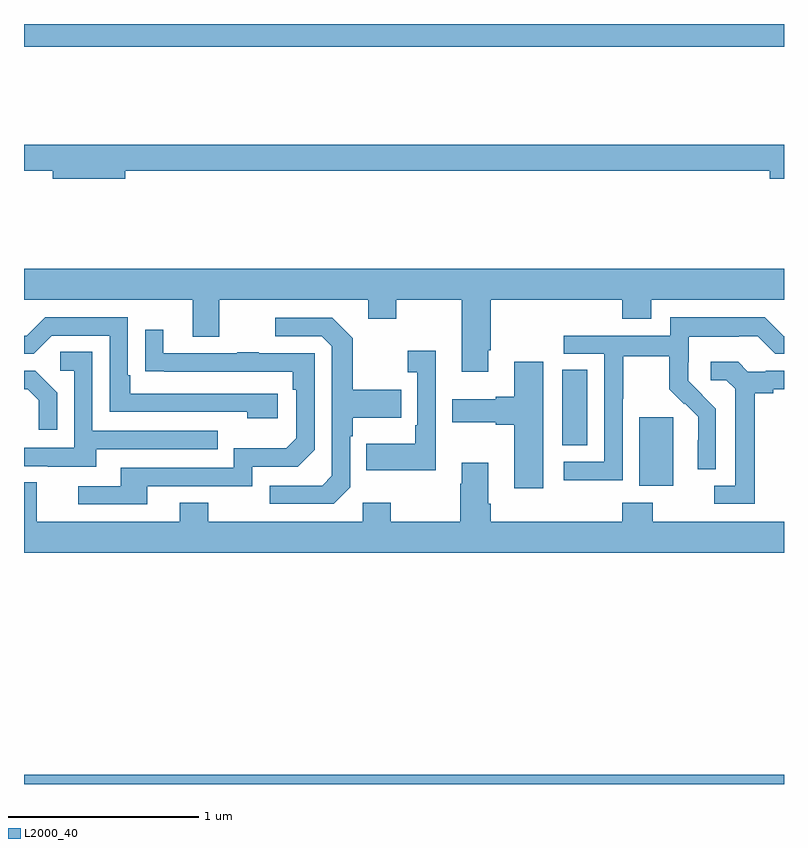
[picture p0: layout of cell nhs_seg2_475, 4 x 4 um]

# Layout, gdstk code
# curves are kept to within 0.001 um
import gdstk
lib = gdstk.Library(unit=1e-6, precision=1e-09)
def R(c, l, rs):  # rectangles x0, y0, x1, y1
    for r in rs: c.add(gdstk.rectangle(r[:2], r[2:], *l))
def P(c, l, *ps):  # polygons
    for p in ps: c.add(gdstk.Polygon(p, *l))
L2000_40 = (2000, 40)

nhs_seg2_475 = lib.new_cell('nhs_seg2_475')
R(nhs_seg2_475, L2000_40, [(135,599.8,139,599.848), (138.239,601.37,138.418,601.731), (137.834,601.582,137.965,601.979), (135,603.68,139,603.8)])
P(nhs_seg2_475, L2000_40, [(135.532,603.028),(138.926,603.028),(138.926,602.986),(139,602.986),(139,603.164),(135,603.164),(135,603.028),(135.152,603.028),(135.152,602.986),(135.532,602.986)],
  [(137.443,602.083),(137.456,602.083),(137.456,602.348),(138.149,602.348),(138.149,602.249),(138.301,602.249),(138.301,602.348),(139,602.348),(139,602.512),(135,602.512),(135,602.348),(135.887,602.348),(135.887,602.154),(136.027,602.154),(136.027,602.348),(136.811,602.348),(136.811,602.249),(136.959,602.249),(136.959,602.348),(137.303,602.348),(137.303,601.971),(137.443,601.971)],
  [(138.15,601.828),(138.153,601.828),(138.153,602.052),(138.397,602.052),(138.397,601.877),(138.474,601.8),(138.477,601.803),(138.548,601.733),(138.548,601.61),(138.546,601.61),(138.546,601.456),(138.642,601.456),(138.642,601.774),(138.496,601.922),(138.496,602.019),(138.498,602.019),(138.498,602.153),(138.761,602.153),(138.761,602.157),(138.861,602.157),(138.954,602.064),(139,602.064),(139,602.157),(138.899,602.257),(138.402,602.257),(138.402,602.16),(137.841,602.16),(137.841,602.064),(138.054,602.064),(138.054,601.497),(137.841,601.497),(137.841,601.399),(138.15,601.399)],
  [(136.336,601.854),(135.559,601.854),(135.559,601.951),(135.546,601.951),(135.546,602.256),(135.111,602.256),(135.015,602.16),(135,602.16),(135,602.064),(135.051,602.064),(135.147,602.16),(135.45,602.16),(135.45,601.758),(136.175,601.758),(136.175,601.724),(136.336,601.724)],
  [(136.716,601.362),(136.716,601.631),(136.729,601.631),(136.729,601.727),(136.985,601.727),(136.985,601.875),(136.729,601.875),(136.729,602.147),(136.623,602.253),(136.323,602.253),(136.323,602.157),(136.566,602.157),(136.62,602.103),(136.62,601.422),(136.569,601.371),(136.293,601.371),(136.293,601.275),(136.629,601.275)],
  [(135.649,601.368),(136.2,601.368),(136.2,601.47),(136.44,601.47),(136.53,601.56),(136.53,602.067),(136.235,602.067),(136.235,602.072),(136.123,602.072),(136.123,602.067),(135.733,602.067),(135.733,602.191),(135.637,602.191),(135.637,601.972),(136.414,601.971),(136.414,601.874),(136.434,601.874),(136.434,601.62),(136.381,601.567),(136.104,601.567),(136.104,601.464),(135.509,601.464),(135.509,601.368),(135.285,601.368),(135.285,601.272),(135.649,601.272)],
  [(137.166,602.08),(137.019,602.08),(137.019,601.967),(137.07,601.967),(137.07,601.687),(137.058,601.687),(137.058,601.591),(136.801,601.591),(136.801,601.451),(137.166,601.451)],
  [(135.379,601.563),(136.019,601.563),(136.019,601.659),(135.36,601.659),(135.36,602.075),(135.192,602.075),(135.192,601.974),(135.264,601.974),(135.264,601.569),(135,601.569),(135,601.473),(135.125,601.473),(135.125,601.469),(135.379,601.469)],
  [(138.847,601.856),(138.943,601.856),(138.943,601.878),(139,601.878),(139,601.974),(138.904,601.974),(138.904,601.971),(138.81,601.971),(138.758,602.023),(138.615,602.023),(138.615,601.926),(138.696,601.926),(138.743,601.879),(138.743,601.371),(138.633,601.371),(138.633,601.275),(138.847,601.275)],
  [(137.734,602.023),(137.579,602.023),(137.579,601.838),(137.483,601.838),(137.483,601.825),(137.253,601.825),(137.253,601.703),(137.483,601.703),(137.483,601.691),(137.579,601.691),(137.579,601.356),(137.734,601.356)],
  [(135.174,601.858),(135.058,601.974),(135,601.974),(135,601.878),(135.02,601.878),(135.077,601.821),(135.077,601.665),(135.174,601.665)],
  [(139,601.18),(138.309,601.18),(138.309,601.279),(138.149,601.279),(138.149,601.18),(137.456,601.18),(137.456,601.276),(137.443,601.276),(137.443,601.492),(137.303,601.492),(137.303,601.379),(137.296,601.379),(137.296,601.18),(136.929,601.18),(136.929,601.279),(136.782,601.279),(136.782,601.18),(135.969,601.18),(135.969,601.279),(135.821,601.279),(135.821,601.18),(135.067,601.18),(135.067,601.388),(135,601.388),(135,601.016),(139,601.016)])

lib.write_gds('nhs_seg2_475.gds')
